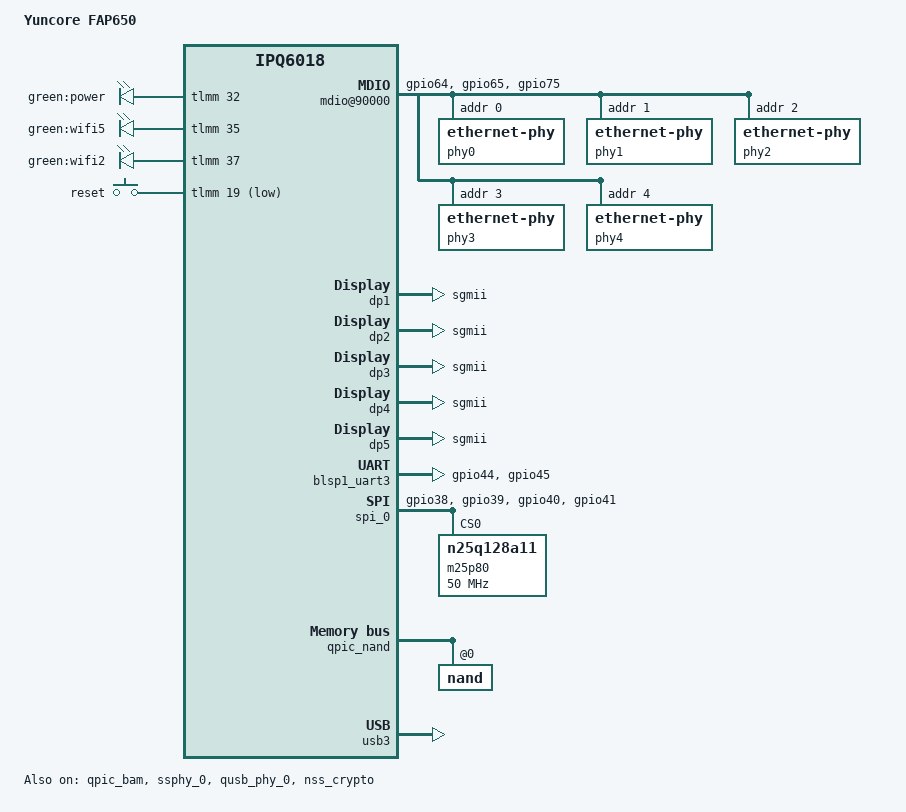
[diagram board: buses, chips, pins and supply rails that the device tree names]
/dts-v1/;
/*
 * Copyright (c) 2019-2021, The Linux Foundation. All rights reserved.
 *
 * Permission to use, copy, modify, and/or distribute this software for any
 * purpose with or without fee is hereby granted, provided that the above
 * copyright notice and this permission notice appear in all copies.
 *
 * THE SOFTWARE IS PROVIDED "AS IS" AND THE AUTHOR DISCLAIMS ALL WARRANTIES
 * WITH REGARD TO THIS SOFTWARE INCLUDING ALL IMPLIED WARRANTIES OF
 * MERCHANTABILITY AND FITNESS. IN NO EVENT SHALL THE AUTHOR BE LIABLE FOR
 * ANY SPECIAL, DIRECT, INDIRECT, OR CONSEQUENTIAL DAMAGES OR ANY DAMAGES
 * WHATSOEVER RESULTING FROM LOSS OF USE, DATA OR PROFITS, WHETHER IN AN
 * ACTION OF CONTRACT, NEGLIGENCE OR OTHER TORTIOUS ACTION, ARISING OUT OF
 * OR IN CONNECTION WITH THE USE OR PERFORMANCE OF THIS SOFTWARE.
 */

#include "ipq6018.dtsi"
#include "ipq6018-cpr-regulator.dtsi"
#include <dt-bindings/input/input.h>

/ {
	#address-cells = <0x2>;
	#size-cells = <0x2>;
	model = "Yuncore FAP650";
        compatible = "yuncore,fap650", "qcom,ipq6018-cp03", "qcom,ipq6018";
	interrupt-parent = <&intc>;
	qcom,msm-id = <0x1A5 0x0>;

	aliases {
		ethernet0 = "/soc/dp5";
		ethernet1 = "/soc/dp4";
		ethernet2 = "/soc/dp3";
		ethernet3 = "/soc/dp2";
		ethernet4 = "/soc/dp1";

		led-boot = &led_power;
		led-failsafe = &led_power;
		led-running = &led_power;
		led-upgrade = &led_power;
	};

	chosen {
		bootargs = "console=ttyMSM0,115200,n8 rw init=/init";
#ifdef __IPQ_MEM_PROFILE_256_MB__
		bootargs-append = " swiotlb=1";
#else
		bootargs-append = " swiotlb=1 coherent_pool=2M";
#endif
	};

	/*
	 * +=========+==============+========================+
	 * |        |              |                         |
	 * | Region | Start Offset |          Size           |
	 * |        |              |                         |
	 * +--------+--------------+-------------------------+
	 * |        |              |                         |
	 * |        |              |                         |
	 * |        |              |                         |
	 * |        |              |                         |
	 * | Linux  |  0x41000000  |         139MB           |
	 * |        |              |                         |
	 * |        |              |                         |
	 * |        |              |                         |
	 * +--------+--------------+-------------------------+
	 * | TZ App |  0x49B00000  |           6MB           |
	 * +--------+--------------+-------------------------+
	 *
	 * From the available 145 MB for Linux in the first 256 MB,
	 * we are reserving 6 MB for TZAPP.
	 *
	 * Refer arch/arm64/boot/dts/qcom/qcom-ipq6018-memory.dtsi
	 * for memory layout.
	 */

/* TZAPP is enabled only in default memory profile */
#if !defined(__IPQ_MEM_PROFILE_256_MB__) && !defined(__IPQ_MEM_PROFILE_512_MB__)
	reserved-memory {
		tzapp:tzapp@49B00000 {	/* TZAPPS */
			no-map;
			reg = <0x0 0x49B00000 0x0 0x00600000>;
		};
	};
#endif
};

&tlmm {
	uart_pins: uart_pins {
		mux {
			pins = "gpio44", "gpio45";
			function = "blsp2_uart";
			drive-strength = <8>;
			bias-pull-down;
		};
	};

	spi_0_pins: spi_0_pins {
		mux {
			pins = "gpio38", "gpio39", "gpio40", "gpio41";
			function = "blsp0_spi";
			drive-strength = <8>;
			bias-pull-down;
		};
	};

	button_pins: button_pins {
		wps_button {
			pins = "gpio19";
			function = "gpio";
			drive-strength = <8>;
			bias-pull-down;
		};
	};

	mdio_pins: mdio_pinmux {
		mux_0 {
			pins = "gpio64";
			function = "mdc";
			drive-strength = <8>;
			bias-pull-up;
		};
		mux_1 {
			pins = "gpio65";
			function = "mdio";
			drive-strength = <8>;
			bias-pull-up;
		};
		mux_2 {
			pins = "gpio75";
			function = "gpio";
			bias-pull-up;
		};
	};


	leds_pins: leds_pins {
		led_sys {
			pins = "gpio32";
			function = "gpio";
			drive-strength = <8>;
			bias-pull-down;
		};

		led_5g {
			pins = "gpio35";
			function = "gpio";
			drive-strength = <8>;
			bias-pull-down;
		};

		led_2g {
			pins = "gpio37";
			function = "gpio";
			drive-strength = <8>;
			bias-pull-down;
		};
	};
};

&soc {
	mdio@90000 {
		pinctrl-0 = <&mdio_pins>;
		pinctrl-names = "default";
		phy-reset-gpio = <&tlmm 75 0>;
		status = "ok";
		phy0: ethernet-phy@0 {
			reg = <0>;
		};
		phy1: ethernet-phy@1 {
			reg = <1>;
		};
		phy2: ethernet-phy@2 {
			reg = <2>;
		};
		phy3: ethernet-phy@3 {
			reg = <3>;
		};
		phy4: ethernet-phy@4 {
			reg = <4>;
		};
	};

	ess-switch@3a000000 {
		switch_cpu_bmp = <0x1>;  /* cpu port bitmap */
		switch_lan_bmp = <0x1e>; /* lan port bitmap */
		switch_wan_bmp = <0x20>; /* wan port bitmap */
		switch_inner_bmp = <0xc0>; /*inner port bitmap*/
		switch_mac_mode = <0x0>; /* mac mode for uniphy instance0*/
		switch_mac_mode1 = <0xff>; /* mac mode for uniphy instance1*/
		switch_mac_mode2 = <0xff>; /* mac mode for uniphy instance2*/
		qcom,port_phyinfo {
			port@3 {
				port_id = <3>;
				phy_address = <4>;
			};
			port@4 {
				port_id = <4>;
				phy_address = <3>;
			};
		};
	};

	dp1 {
		device_type = "network";
		compatible = "qcom,nss-dp";
		qcom,id = <1>;
		reg = <0x3a001000 0x200>;
		qcom,mactype = <0>;
		local-mac-address = [000000000000];
		qcom,link-poll = <1>;
		qcom,phy-mdio-addr = <0>;
		phy-mode = "sgmii";
	};

	dp2 {
		device_type = "network";
		compatible = "qcom,nss-dp";
		qcom,id = <2>;
		reg = <0x3a001200 0x200>;
		qcom,mactype = <0>;
		local-mac-address = [000000000000];
		qcom,link-poll = <1>;
		qcom,phy-mdio-addr = <1>;
		phy-mode = "sgmii";
	};

	dp3 {
		device_type = "network";
		compatible = "qcom,nss-dp";
		qcom,id = <3>;
		reg = <0x3a001400 0x200>;
		qcom,mactype = <0>;
		local-mac-address = [000000000000];
		qcom,link-poll = <1>;
		qcom,phy-mdio-addr = <2>;
		phy-mode = "sgmii";
	};

	dp4 {
		device_type = "network";
		compatible = "qcom,nss-dp";
		qcom,id = <4>;
		reg = <0x3a001600 0x200>;
		qcom,mactype = <0>;
		local-mac-address = [000000000000];
		qcom,link-poll = <1>;
		qcom,phy-mdio-addr = <3>;
		phy-mode = "sgmii";
	};

	dp5 {
		device_type = "network";
		compatible = "qcom,nss-dp";
		qcom,id = <5>;
		reg = <0x3a001800 0x200>;
		qcom,mactype = <0>;
		local-mac-address = [000000000000];
		qcom,link-poll = <1>;
		qcom,phy-mdio-addr = <4>;
		phy-mode = "sgmii";
	};

	leds {
		compatible = "gpio-leds";
		pinctrl-0 = <&leds_pins>;
		pinctrl-names = "default";

		led_power: led@32 {
			label = "green:power";
			gpios = <&tlmm 32 GPIO_ACTIVE_HIGH>;
			default-state = "on";
		};

		led@35 {
			label = "green:wifi5";
			gpios = <&tlmm 35 GPIO_ACTIVE_HIGH>;
			default-state = "off";
		};

		led@37 {
			label = "green:wifi2";
			gpios = <&tlmm 37 GPIO_ACTIVE_HIGH>;
			default-state = "off";
		};
	};

	gpio_keys {
		compatible = "gpio-keys";
		pinctrl-0 = <&button_pins>;
		pinctrl-names = "default";

		reboot {
			label = "reset";
			linux,code = <KEY_RESTART>;
			gpios = <&tlmm 19 GPIO_ACTIVE_LOW>;
			linux,input-type = <1>;
			debounce-interval = <60>;
		};
	};
};

&blsp1_uart3 {
	pinctrl-0 = <&uart_pins>;
	pinctrl-names = "default";
	status = "ok";
};

&spi_0 {
	pinctrl-0 = <&spi_0_pins>;
	pinctrl-names = "default";
	cs-select = <0>;
	status = "ok";

	m25p80@0 {
		#address-cells = <1>;
		#size-cells = <1>;
		reg = <0>;
		compatible = "n25q128a11";
		linux,modalias = "m25p80", "n25q128a11";
		spi-max-frequency = <50000000>;
		use-default-sizes;
	};
};

&qpic_bam {
	status = "ok";
};

&qpic_nand {
	status = "ok";

	nand@0 {
		reg = <0>;
		#address-cells = <1>;
		#size-cells = <1>;

		nand-ecc-strength = <4>;
		nand-ecc-step-size = <512>;
		nand-bus-width = <8>;
	};
};

&ssphy_0 {
	status = "ok";
};

&qusb_phy_0 {
	status = "ok";
};

&usb3 {
	status = "ok";
};

&nss_crypto {
	status = "ok";
};
